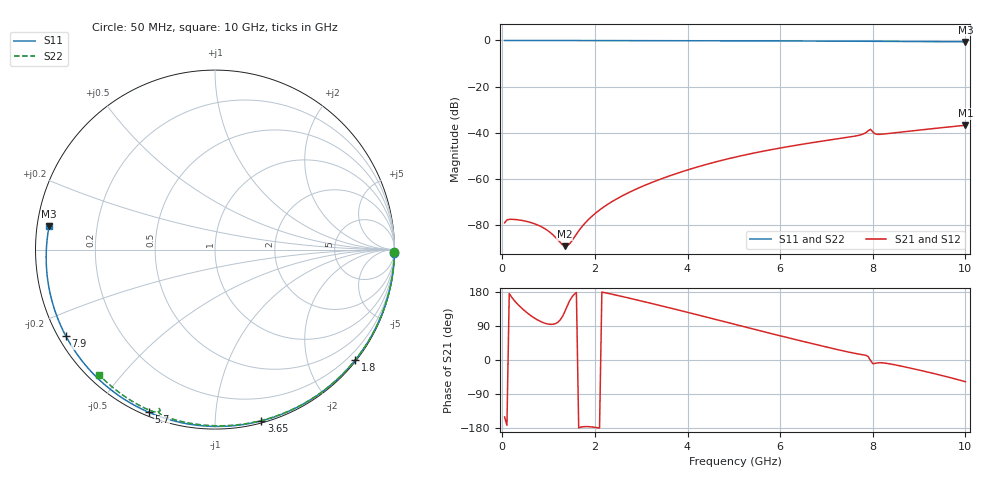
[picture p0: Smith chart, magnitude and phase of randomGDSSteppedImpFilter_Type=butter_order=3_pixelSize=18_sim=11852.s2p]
! freq	dB(S11)	phase(S11)	dB(S12)	phase(S12)
!  dB(S21)	phase(S21)	dB(S22)	phase(S22)
!S-par simulation data
#  GHz  S  DB  R 50
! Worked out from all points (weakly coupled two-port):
!   200 points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, 50 MHz to 10 GHz, reference 50 ohm
!   highest |S21| = -36.67 dB at 10 GHz (marker M1); lowest = -89.0 dB at 1.35 GHz (marker M2)
!   lowest |S11| = -0.6 dB at 10 GHz (marker M3), VSWR 28.98, Z = 1.73 + j3.55 ohm
!   |S11| at or under -10 dB: nowhere
!   |S22| runs from -0.6 to 0.0 dB; largest |S21 - S12| = 0
!   S11 on the Smith chart (normalised r, x): 50 MHz: open; 1.8 GHz: 0.03, -2.89; 3.65 GHz: 0.02, -1.31; 5.7 GHz: 0.02, -0.67; 7.9 GHz: 0.02, -0.27; 10 GHz: 0.03, +0.07
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0.05  -0.00 -1.1  -78.86 -150.4  -78.86 -150.4  -0.00 -0.8
0.1  -0.00 -2.2  -77.60 -172.3  -77.60 -172.3  -0.00 -1.5
0.2  -0.00 -4.3  -77.33 166.1  -77.33 166.1  -0.00 -3.1
0.5  -0.01 -10.8  -78.12 128.1  -78.12 128.1  -0.01 -7.7
0.8  -0.02 -17.2  -80.12 103.3  -80.12 103.3  -0.01 -12.2
1.35  -0.04 -28.8  -88.95 127.5  -88.95 127.5  -0.03 -20.5
1.75  -0.05 -37.1  -79.81 -176.1  -79.81 -176.1  -0.03 -26.5
1.8  -0.05 -38.1  -78.69 -175.7  -78.69 -175.7  -0.03 -27.2
2.05  -0.06 -43.3  -74.08 -178.6  -74.08 -178.6  -0.04 -30.9
2.4  -0.06 -50.4  -69.32 172.8  -69.32 172.8  -0.05 -36.0
3.4  -0.09 -70.0  -60.09 144.0  -60.09 144.0  -0.07 -50.4
3.65  -0.10 -74.8  -58.29 136.5  -58.29 136.5  -0.07 -53.9
5.05  -0.15 -100.6  -50.35 93.1  -50.35 93.1  -0.11 -72.9
5.7  -0.19 -112.1  -47.63 73.0  -47.63 73.0  -0.13 -81.4
6.7  -0.25 -129.4  -44.16 43.0  -44.16 43.0  -0.18 -94.0
7.7  -0.33 -146.5  -41.02 15.6  -41.02 15.6  -0.25 -106.5
7.9  -0.35 -150.0  -39.06 9.2  -39.06 9.2  -0.41 -109.5
7.95  -0.35 -150.9  -38.43 -0.9  -38.43 -0.9  -0.56 -109.3
8.1  -0.37 -153.5  -40.61 -7.6  -40.61 -7.6  -0.32 -110.1
8.35  -0.40 -157.9  -40.20 -9.8  -40.20 -9.8  -0.30 -113.4
9.2  -0.49 -173.1  -38.33 -32.2  -38.33 -32.2  -0.37 -123.5
10  -0.60 171.9  -36.67 -57.3  -36.67 -57.3  -0.44 -132.7
